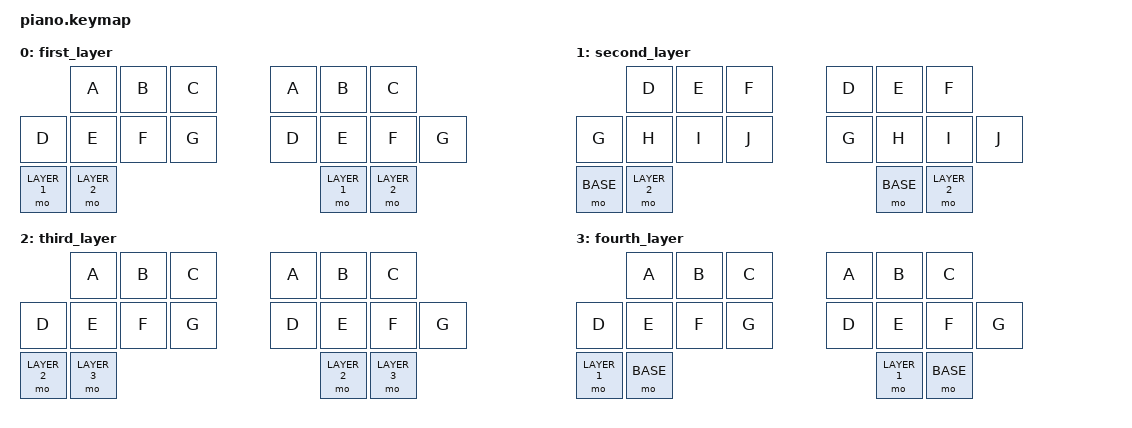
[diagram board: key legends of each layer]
/*
 * Copyright (c) 2020 The ZMK Contributors
 *
 * SPDX-License-Identifier: MIT
 */

#include <behaviors.dtsi>
#include <dt-bindings/zmk/keys.h>
#include <dt-bindings/zmk/bt.h>

#define BASE 0
#define LAYER_1 1
#define LAYER_2 2
#define LAYER_3 3

/ {
    keymap {
        compatible = "zmk,keymap";

        first_layer {
            bindings = <
                        &kp A   &kp B   &kp C               &kp A   &kp B   &kp C
                &kp D   &kp E   &kp F   &kp G               &kp D   &kp E   &kp F   &kp G
                    &mo LAYER_1     &mo LAYER_2             &mo LAYER_1     &mo LAYER_2
            >;
        };
        
        second_layer {
            bindings = <
                        &kp D   &kp E   &kp F               &kp D   &kp E   &kp F    
                &kp G   &kp H   &kp I   &kp J               &kp G   &kp H   &kp I   &kp J
                        &mo BASE     &mo LAYER_2            &mo BASE     &mo LAYER_2
            >;
        };
        
        third_layer {
            bindings = <
                        &kp A   &kp B   &kp C               &kp A   &kp B   &kp C
                &kp D   &kp E   &kp F   &kp G               &kp D   &kp E   &kp F   &kp G
                        &mo LAYER_2     &mo LAYER_3         &mo LAYER_2     &mo LAYER_3
                >;
            };

        fourth_layer {
            bindings = <
                        &kp A   &kp B   &kp C               &kp A   &kp B   &kp C
                &kp D   &kp E   &kp F   &kp G               &kp D   &kp E   &kp F   &kp G
                        &mo LAYER_1     &mo BASE            &mo LAYER_1     &mo BASE
                >;
            };
            };
        };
